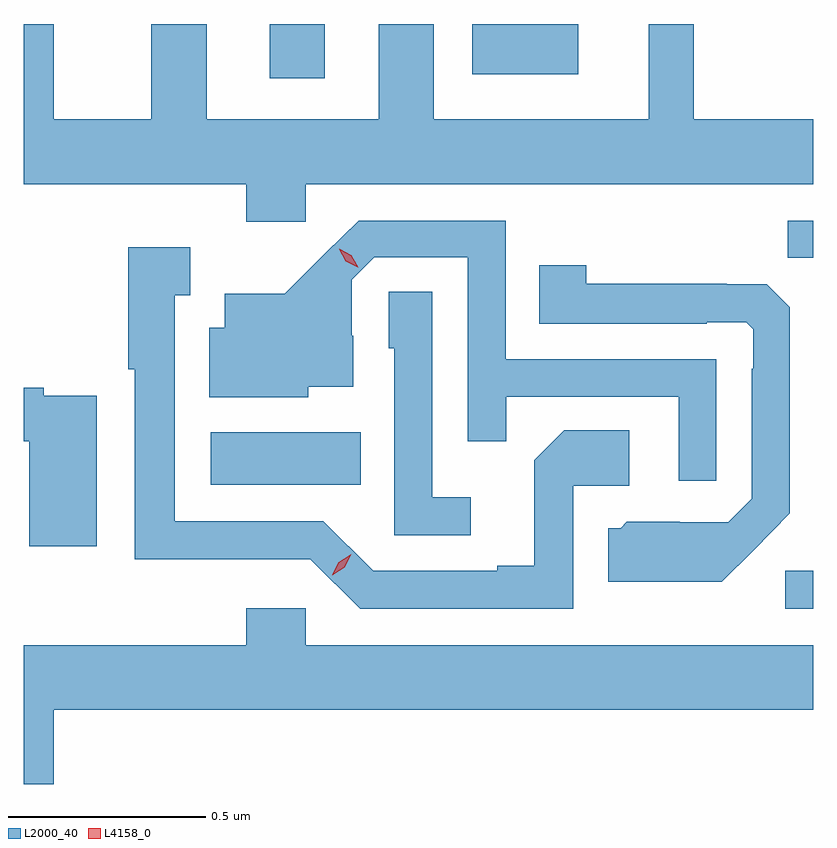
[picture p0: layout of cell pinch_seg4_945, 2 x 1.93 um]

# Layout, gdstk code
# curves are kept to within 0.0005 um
import gdstk
lib = gdstk.Library(unit=1e-6, precision=1e-09)
def R(c, l, rs):  # rectangles x0, y0, x1, y1
    for r in rs: c.add(gdstk.rectangle(r[:2], r[2:], *l))
def P(c, l, *ps):  # polygons
    for p in ps: c.add(gdstk.Polygon(p, *l))
L2000_40 = (2000, 40)
L4158_0 = (4158, 0)

pinch_seg4_945 = lib.new_cell('pinch_seg4_945')
R(pinch_seg4_945, L2000_40, [(670.521,801.072,670.592,801.168), (669.066,801.386,669.446,801.52), (670.528,801.961,670.592,802.056), (669.215,802.416,669.355,802.554), (669.728,802.427,669.997,802.554)])
P(pinch_seg4_945, L2000_40, [(669.155,802.053),(669.306,802.053),(669.306,802.148),(670.592,802.148),(670.592,802.312),(670.289,802.312),(670.289,802.554),(670.175,802.554),(670.175,802.312),(669.631,802.312),(669.631,802.554),(669.491,802.554),(669.491,802.312),(669.055,802.312),(669.055,802.554),(668.915,802.554),(668.915,802.312),(668.668,802.312),(668.668,802.554),(668.592,802.554),(668.592,802.148),(669.155,802.148)],
  [(670.347,801.705),(669.813,801.705),(669.813,802.056),(669.44,802.056),(669.253,801.871),(669.101,801.871),(669.101,801.784),(669.062,801.784),(669.062,801.608),(669.312,801.608),(669.312,801.635),(669.427,801.635),(669.427,801.764),(669.423,801.764),(669.423,801.906),(669.48,801.963),(669.717,801.963),(669.717,801.496),(669.815,801.496),(669.815,801.609),(670.251,801.609),(670.251,801.396),(670.347,801.396)],
  [(669.984,801.384),(670.126,801.384),(670.126,801.524),(669.961,801.524),(669.885,801.448),(669.885,801.181),(669.791,801.181),(669.791,801.168),(669.477,801.168),(669.351,801.294),(668.974,801.294),(668.974,801.867),(669.013,801.867),(669.013,801.988),(668.856,801.988),(668.856,801.679),(668.873,801.679),(668.873,801.197),(669.096,801.197),(669.096,801.198),(669.318,801.198),(669.444,801.072),(669.984,801.072)],
  [(670.441,801.221),(670.533,801.314),(670.533,801.836),(670.474,801.895),(670.373,801.895),(670.373,801.896),(670.017,801.896),(670.017,801.943),(669.898,801.943),(669.898,801.795),(670.322,801.795),(670.322,801.798),(670.422,801.798),(670.44,801.78),(670.44,801.68),(670.437,801.68),(670.437,801.351),(670.377,801.291),(670.254,801.291),(670.254,801.292),(670.12,801.292),(670.104,801.276),(670.073,801.276),(670.073,801.14),(670.361,801.14)],
  [(669.724,801.355),(669.627,801.355),(669.627,801.875),(669.516,801.875),(669.516,801.732),(669.531,801.732),(669.531,801.258),(669.724,801.258)],
  [(668.776,801.612),(668.642,801.612),(668.642,801.632),(668.592,801.632),(668.592,801.496),(668.606,801.496),(668.606,801.231),(668.776,801.231)],
  [(668.668,800.816),(670.592,800.816),(670.592,800.98),(669.306,800.98),(669.306,801.073),(669.155,801.073),(669.155,800.98),(668.592,800.98),(668.592,800.628),(668.668,800.628)])
P(pinch_seg4_945, L4158_0, [(669.438,801.937),(669.408,801.953),(669.391,801.983),(669.391,801.984),(669.391,801.984),(669.422,801.968),(669.439,801.938),(669.439,801.937)],
  [(669.373,801.157),(669.373,801.158),(669.39,801.19),(669.421,801.21),(669.422,801.21),(669.422,801.21),(669.405,801.177),(669.373,801.157)])

lib.write_gds('pinch_seg4_945.gds')
